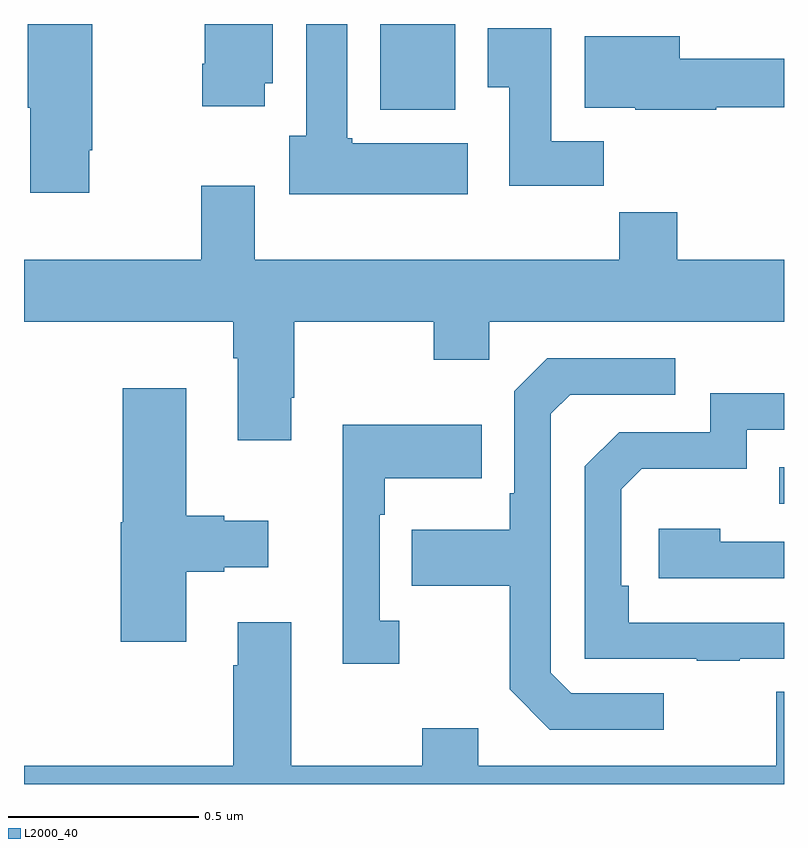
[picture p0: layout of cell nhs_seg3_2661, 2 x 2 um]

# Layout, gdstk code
import gdstk
lib = gdstk.Library(unit=1e-6, precision=1e-09)
def R(c, l, rs):  # rectangles x0, y0, x1, y1
    for r in rs: c.add(gdstk.rectangle(r[:2], r[2:], *l))
def P(c, l, *ps):  # polygons
    for p in ps: c.add(gdstk.Polygon(p, *l))
L2000_40 = (2000, 40)

nhs_seg3_2661 = lib.new_cell('nhs_seg3_2661')
R(nhs_seg3_2661, L2000_40, [(145.987,667.137,146,667.233), (144.938,668.174,145.135,668.4)])
P(nhs_seg3_2661, L2000_40, [(144.172,668.068),(144.18,668.068),(144.18,668.4),(144.01,668.4),(144.01,668.179),(144.017,668.179),(144.017,667.956),(144.172,667.956)],
  [(144.634,668.244),(144.655,668.244),(144.655,668.4),(144.476,668.4),(144.476,668.296),(144.469,668.296),(144.469,668.184),(144.634,668.184)],
  [(145.168,668.086),(144.864,668.086),(144.864,668.1),(144.85,668.1),(144.85,668.4),(144.743,668.4),(144.743,668.106),(144.698,668.106),(144.698,667.952),(145.168,667.952)],
  [(145.526,668.092),(145.387,668.092),(145.387,668.389),(145.22,668.389),(145.22,668.233),(145.277,668.233),(145.277,667.974),(145.526,667.974)],
  [(145.822,668.181),(146,668.181),(146,668.309),(145.726,668.309),(145.726,668.368),(145.475,668.368),(145.475,668.18),(145.608,668.18),(145.608,668.174),(145.822,668.174)],
  [(144.703,667.417),(144.711,667.417),(144.711,667.616),(145.078,667.616),(145.078,667.517),(145.224,667.517),(145.224,667.616),(146,667.616),(146,667.78),(145.719,667.78),(145.719,667.904),(145.567,667.904),(145.567,667.78),(144.607,667.78),(144.607,667.975),(144.467,667.975),(144.467,667.78),(144,667.78),(144,667.616),(144.551,667.616),(144.551,667.52),(144.563,667.52),(144.563,667.305),(144.703,667.305)],
  [(145.684,666.639),(145.44,666.639),(145.386,666.693),(145.386,667.374),(145.437,667.425),(145.714,667.425),(145.714,667.521),(145.377,667.521),(145.29,667.434),(145.29,667.165),(145.278,667.165),(145.278,667.069),(145.021,667.069),(145.021,666.922),(145.278,666.922),(145.278,666.649),(145.383,666.543),(145.684,666.543)],
  [(144.427,666.959),(144.527,666.959),(144.527,666.971),(144.643,666.971),(144.643,667.093),(144.527,667.093),(144.527,667.106),(144.427,667.106),(144.427,667.441),(144.26,667.441),(144.26,667.089),(144.254,667.089),(144.254,666.774),(144.427,666.774)],
  [(145.883,666.729),(146,666.729),(146,666.825),(145.592,666.825),(145.592,666.922),(145.572,666.922),(145.572,667.176),(145.625,667.229),(145.902,667.229),(145.902,667.332),(146,667.332),(146,667.428),(145.806,667.428),(145.806,667.326),(145.566,667.326),(145.476,667.236),(145.476,666.729),(145.771,666.729),(145.771,666.724),(145.883,666.724)],
  [(144.988,666.83),(144.936,666.83),(144.936,667.109),(144.949,667.109),(144.949,667.205),(145.205,667.205),(145.205,667.345),(144.839,667.345),(144.839,666.717),(144.988,666.717)],
  [(146,667.038),(145.832,667.038),(145.832,667.072),(145.671,667.072),(145.671,666.942),(146,666.942)],
  [(146,666.643),(145.979,666.643),(145.979,666.448),(145.195,666.448),(145.195,666.547),(145.048,666.547),(145.048,666.448),(144.703,666.448),(144.703,666.826),(144.563,666.826),(144.563,666.713),(144.551,666.713),(144.551,666.448),(144,666.448),(144,666.4),(146,666.4)])

lib.write_gds('nhs_seg3_2661.gds')
